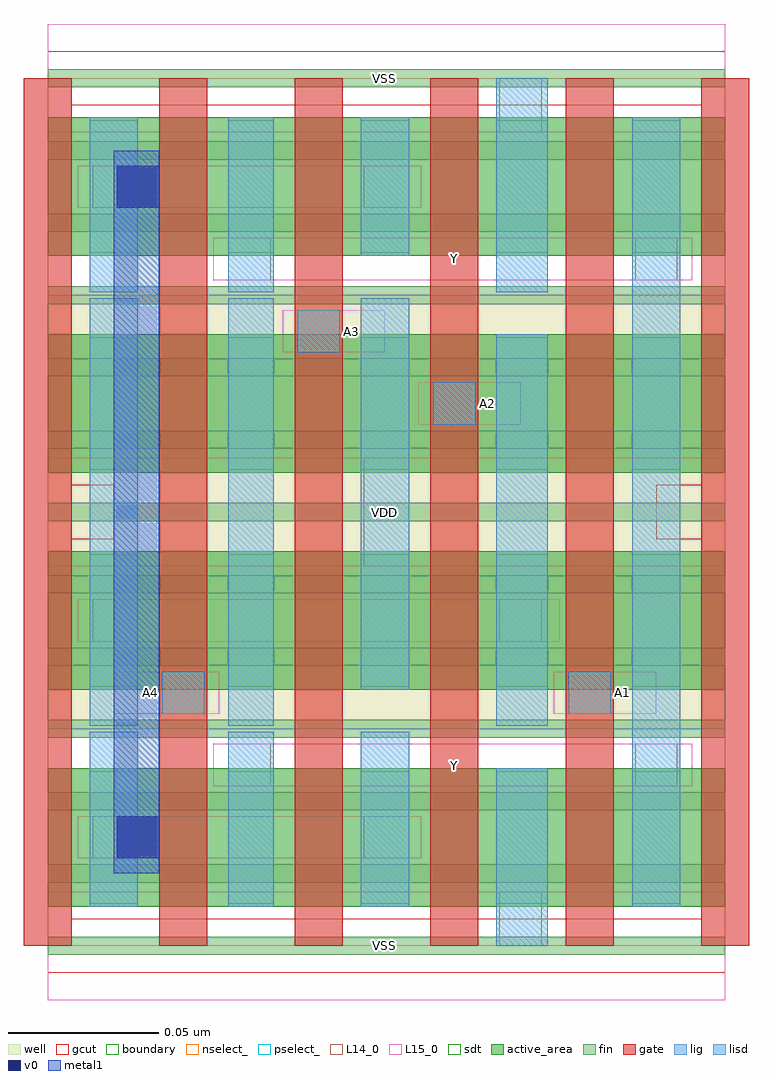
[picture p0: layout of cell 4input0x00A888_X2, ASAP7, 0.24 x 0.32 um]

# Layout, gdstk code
import gdstk
lib = gdstk.Library(unit=1e-6, precision=1e-09)
def R(c, l, rs):  # rectangles x0, y0, x1, y1
    for r in rs: c.add(gdstk.rectangle(r[:2], r[2:], *l))
def A(c, l, x, y, w, h, nx, ny, dx, dy):  # array of equal rectangles
    R(c, l, [(x+i*dx, y+j*dy, x+i*dx+w, y+j*dy+h) for i in range(nx) for j in range(ny)])
def P(c, l, *ps):  # polygons
    for p in ps: c.add(gdstk.Polygon(p, *l))
well = (1, 0)
fin = (2, 0)
gate = (7, 0)
gcut = (10, 0)
active_area = (11, 0)
nselect_ = (12, 0)
pselect_ = (13, 0)
L14_0 = (14, 0)
L15_0 = (15, 0)
lig = (16, 0)
lisd = (17, 0)
v0 = (18, 0)
metal1 = (19, 0)
sdt = (88, 0)
boundary = (100, 0)

c_4input0x00a888_x2 = lib.new_cell('4input0x00A888_X2')
R(c_4input0x00a888_x2, well, [(0,0.072,0.225,0.144), (0,0.144,0.225,0.216)])
A(c_4input0x00a888_x2, fin, 0, -0.003, 0.225, 0.006, 1, 13, 0, 0.024)
A(c_4input0x00a888_x2, gate, -0.008, 0, 0.016, 0.288, 6, 1, 0.045, 0)
P(c_4input0x00a888_x2, gcut, [(0,-0.009),(0,0),(-0.008,0),(-0.008,0.279),(0.008,0.279),(0.008,0.153),(0.022,0.153),(0.022,0.135),(0.008,0.135),(0.008,0.009),(0.217,0.009),(0.217,0.135),(0.202,0.135),(0.202,0.153),(0.217,0.153),(0.217,0.279),(-0.008,0.279),(-0.008,0.288),(0,0.288),(0,0.297),(0.225,0.297),(0.225,0.288),(0.233,0.288),(0.233,0),(0.225,0),(0.225,-0.009)])
A(c_4input0x00a888_x2, active_area, 0, 0.013, 0.225, 0.046, 1, 4, 0, 0.072)
R(c_4input0x00a888_x2, nselect_, [(0,0,0.225,0.072), (0,0.216,0.225,0.288)])
R(c_4input0x00a888_x2, pselect_, [(0,0.072,0.225,0.144), (0,0.144,0.225,0.216)])
R(c_4input0x00a888_x2, L14_0, [(0.15,0,0.164,0.018), (0.015,0.029,0.03,0.043), (0.105,0.029,0.12,0.043), (0.06,0.053,0.074,0.067), (0.195,0.053,0.209,0.067), (0.038,0.077,0.052,0.091), (0.173,0.077,0.187,0.091), (0.015,0.101,0.03,0.115), (0.15,0.101,0.164,0.115), (0.105,0.126,0.12,0.144), (0.105,0.144,0.12,0.162), (0.128,0.173,0.142,0.187), (0.083,0.197,0.097,0.211), (0.06,0.221,0.074,0.235), (0.195,0.221,0.209,0.235), (0.015,0.245,0.03,0.259), (0.105,0.245,0.12,0.259), (0.15,0.27,0.164,0.288)])
A(c_4input0x00a888_x2, L15_0, 0, -0.018, 0.225, 0.036, 1, 3, 0, 0.144)
R(c_4input0x00a888_x2, L15_0, [(0.01,0.029,0.124,0.043), (0.055,0.053,0.214,0.067), (0.022,0.077,0.057,0.091), (0.168,0.077,0.202,0.091), (0.01,0.101,0.17,0.115), (0.123,0.173,0.157,0.187), (0.078,0.197,0.112,0.211), (0.055,0.221,0.214,0.235), (0.01,0.245,0.124,0.259)])
R(c_4input0x00a888_x2, lig, [(0.038,0.077,0.052,0.091), (0.173,0.077,0.187,0.091), (0.128,0.173,0.142,0.187), (0.083,0.197,0.097,0.211)])
R(c_4input0x00a888_x2, lisd, [(0.149,0,0.166,0.059), (0.014,0.013,0.03,0.071), (0.06,0.013,0.075,0.071), (0.104,0.013,0.12,0.071), (0.194,0.013,0.21,0.275), (0.014,0.073,0.03,0.215), (0.06,0.073,0.075,0.215), (0.149,0.073,0.166,0.203), (0.104,0.085,0.12,0.215), (0.014,0.217,0.03,0.275), (0.06,0.217,0.075,0.275), (0.149,0.217,0.166,0.288), (0.104,0.229,0.12,0.275)])
R(c_4input0x00a888_x2, v0, [(0.023,0.029,0.037,0.043), (0.023,0.245,0.037,0.259)])
R(c_4input0x00a888_x2, metal1, [(0.022,0.024,0.037,0.264)])
A(c_4input0x00a888_x2, sdt, 0.014, 0.014, 0.016, 0.044, 3, 4, 0.09, 0.072)
A(c_4input0x00a888_x2, sdt, 0.06, 0.014, 0.015, 0.044, 1, 4, 0, 0.072)
A(c_4input0x00a888_x2, sdt, 0.149, 0.014, 0.017, 0.044, 1, 4, 0, 0.072)
R(c_4input0x00a888_x2, boundary, [(0,0,0.225,0.288)])
c_4input0x00a888_x2.add(gdstk.Label('A2', (0.146,0.18), layer=15, texttype=251))
c_4input0x00a888_x2.add(gdstk.Label('VSS', (0.112,0), layer=15, texttype=251))
c_4input0x00a888_x2.add(gdstk.Label('VDD', (0.112,0.144), layer=15, texttype=251))
c_4input0x00a888_x2.add(gdstk.Label('VDD', (0.112,0.144), layer=15, texttype=251))
c_4input0x00a888_x2.add(gdstk.Label('VSS', (0.112,0.288), layer=15, texttype=251))
c_4input0x00a888_x2.add(gdstk.Label('A3', (0.101,0.204), layer=15, texttype=251))
c_4input0x00a888_x2.add(gdstk.Label('VSS', (0.112,0), layer=15, texttype=251))
c_4input0x00a888_x2.add(gdstk.Label('VDD', (0.112,0.144), layer=15, texttype=251))
c_4input0x00a888_x2.add(gdstk.Label('VDD', (0.112,0.144), layer=15, texttype=251))
c_4input0x00a888_x2.add(gdstk.Label('VSS', (0.112,0.288), layer=15, texttype=251))
c_4input0x00a888_x2.add(gdstk.Label('A4', (0.034,0.084), layer=15, texttype=251))
c_4input0x00a888_x2.add(gdstk.Label('VSS', (0.112,0), layer=15, texttype=251))
c_4input0x00a888_x2.add(gdstk.Label('VDD', (0.112,0.144), layer=15, texttype=251))
c_4input0x00a888_x2.add(gdstk.Label('VDD', (0.112,0.144), layer=15, texttype=251))
c_4input0x00a888_x2.add(gdstk.Label('VSS', (0.112,0.288), layer=15, texttype=251))
c_4input0x00a888_x2.add(gdstk.Label('A1', (0.191,0.084), layer=15, texttype=251))
c_4input0x00a888_x2.add(gdstk.Label('VSS', (0.112,0), layer=15, texttype=251))
c_4input0x00a888_x2.add(gdstk.Label('VDD', (0.112,0.144), layer=15, texttype=251))
c_4input0x00a888_x2.add(gdstk.Label('VDD', (0.112,0.144), layer=15, texttype=251))
c_4input0x00a888_x2.add(gdstk.Label('VSS', (0.112,0.288), layer=15, texttype=251))
c_4input0x00a888_x2.add(gdstk.Label('Y', (0.135,0.228), layer=15, texttype=251))
c_4input0x00a888_x2.add(gdstk.Label('Y', (0.135,0.06), layer=15, texttype=251))
c_4input0x00a888_x2.add(gdstk.Label('VSS', (0.112,0), layer=15, texttype=251))
c_4input0x00a888_x2.add(gdstk.Label('VDD', (0.112,0.144), layer=15, texttype=251))
c_4input0x00a888_x2.add(gdstk.Label('VDD', (0.112,0.144), layer=15, texttype=251))
c_4input0x00a888_x2.add(gdstk.Label('VSS', (0.112,0.288), layer=15, texttype=251))
c_4input0x00a888_x2.add(gdstk.Label('VSS', (0.112,0), layer=3, texttype=251))
c_4input0x00a888_x2.add(gdstk.Label('VSS', (0.112,0.288), layer=3, texttype=251))
c_4input0x00a888_x2.add(gdstk.Label('VSS', (0.112,0), layer=3, texttype=251))
c_4input0x00a888_x2.add(gdstk.Label('VSS', (0.112,0.288), layer=3, texttype=251))
c_4input0x00a888_x2.add(gdstk.Label('VSS', (0.112,0), layer=3, texttype=251))
c_4input0x00a888_x2.add(gdstk.Label('VSS', (0.112,0.288), layer=3, texttype=251))
c_4input0x00a888_x2.add(gdstk.Label('VSS', (0.112,0), layer=3, texttype=251))
c_4input0x00a888_x2.add(gdstk.Label('VSS', (0.112,0.288), layer=3, texttype=251))
c_4input0x00a888_x2.add(gdstk.Label('VSS', (0.112,0), layer=3, texttype=251))
c_4input0x00a888_x2.add(gdstk.Label('VSS', (0.112,0.288), layer=3, texttype=251))
c_4input0x00a888_x2.add(gdstk.Label('VDD', (0.112,0.144), layer=1, texttype=251))
c_4input0x00a888_x2.add(gdstk.Label('VDD', (0.112,0.144), layer=1, texttype=251))
c_4input0x00a888_x2.add(gdstk.Label('VDD', (0.112,0.144), layer=1, texttype=251))
c_4input0x00a888_x2.add(gdstk.Label('VDD', (0.112,0.144), layer=1, texttype=251))
c_4input0x00a888_x2.add(gdstk.Label('VDD', (0.112,0.144), layer=1, texttype=251))
c_4input0x00a888_x2.add(gdstk.Label('VDD', (0.112,0.144), layer=1, texttype=251))
c_4input0x00a888_x2.add(gdstk.Label('VDD', (0.112,0.144), layer=1, texttype=251))
c_4input0x00a888_x2.add(gdstk.Label('VDD', (0.112,0.144), layer=1, texttype=251))
c_4input0x00a888_x2.add(gdstk.Label('VDD', (0.112,0.144), layer=1, texttype=251))
c_4input0x00a888_x2.add(gdstk.Label('VDD', (0.112,0.144), layer=1, texttype=251))

lib.write_gds('4input0x00A888_X2.gds')
